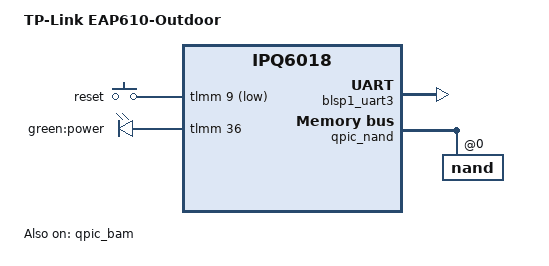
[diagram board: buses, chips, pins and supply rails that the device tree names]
// SPDX-License-Identifier: (GPL-2.0+)

/dts-v1/;

#include "ipq6018.dtsi"
#include "ipq6018-upstreamable.dtsi"

#include <dt-bindings/input/input.h>
#include <dt-bindings/gpio/gpio.h>

/ {
	model = "TP-Link EAP610-Outdoor";
	compatible = "tplink,eap610-outdoor", "qcom,ipq6018";

	aliases {
		serial0 = &blsp1_uart3;
		led-boot = &led_power;
		led-failsafe = &led_power;
		led-running = &led_power;
		led-upgrade = &led_power;
	};

	chosen {
		stdout-path = "serial0:115200n8";
	};

	keys {
		compatible = "gpio-keys";

		reset {
			label = "reset";
			gpios = <&tlmm 9 GPIO_ACTIVE_LOW>;
			linux,code = <KEY_RESTART>;
		};
	};

	leds {
		compatible = "gpio-leds";

		led_power: led-1 {
			label = "green:power";
			gpios = <&tlmm 36 GPIO_ACTIVE_HIGH>;
		};
	};
};

&blsp1_uart3 {
	pinctrl-0 = <&serial_3_pins>;
	pinctrl-names = "default";
	status = "okay";
};

&tlmm {
};

&qpic_bam {
	status = "okay";
};

&qpic_nand {
	status = "okay";

	nand@0 {
		reg = <0>;

		nand-ecc-strength = <4>;
		nand-ecc-step-size = <512>;
		nand-bus-width = <8>;
	};
};
